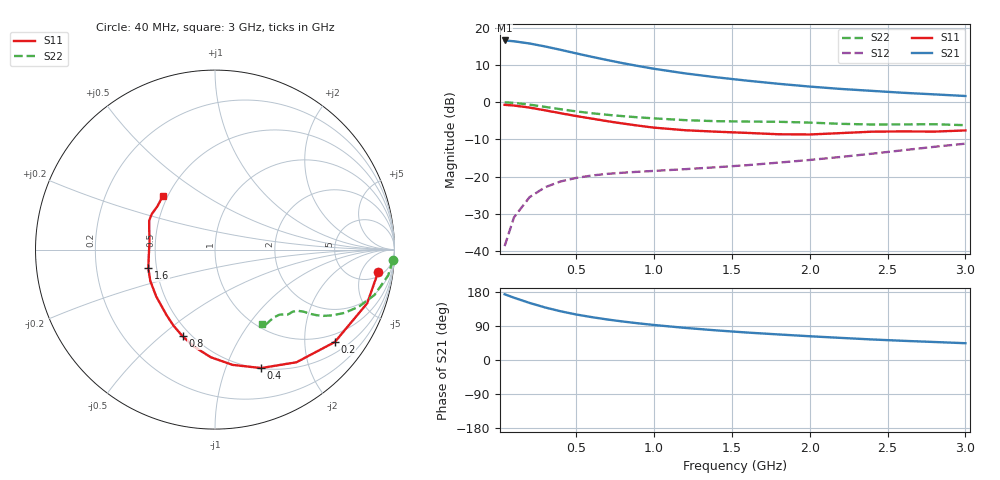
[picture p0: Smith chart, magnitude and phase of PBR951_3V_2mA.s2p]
! Filename:  PBR951C.S2P  Version:  3.0
! Philips part #:  PBR951  Date: July 1998
! Bias condition:  Vce=3V, Ic=2.0mA
#  MHz  S  MA  R 50
! Freq  S11  S21  S12  S22
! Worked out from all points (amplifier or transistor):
!   21 points, 40 MHz to 3 GHz, reference 50 ohm
!   highest |S21| = 16.5 dB at 40 MHz (marker M1)
!   |S21| within 3 dB of that: start of sweep to 451 MHz
!   unconditionally stable (mu >= 1): 1.505 GHz to 2.643 GHz
!   at 300 MHz: K = 0.25, MSG = 18.9 dB, |S12| = -22.8 dB
!   at 1 GHz: K = 0.77, MSG = 13.7 dB, |S12| = -18.5 dB
!   at 3 GHz: K = 0.96, MSG = 6.4 dB, |S12| = -11.2 dB
!   S11 on the Smith chart (normalised r, x): 40 MHz: 7, -10; 200 MHz: 0.77, -2.74; 400 MHz: 0.50, -1.34; 800 MHz: 0.45, -0.59; 1.6 GHz: 0.45, -0.11; 3 GHz: 0.47, +0.34
40  0.9173 -7.9  6.705 173.5  0.01167 85.3  0.9924 -3.5
100  0.8991 -19.4  6.536 164.4  0.02839 78.8  0.9753 -8.5
200  0.843 -37.7  6.106 150.6  0.05295 69.7  0.9238 -15.9
300  0.7746 -54.1  5.571 138.6  0.07207 62.4  0.8619 -21.7
400  0.7082 -68.7  5.019 128.5  0.08616 56.9  0.8021 -26.1
500  0.6495 -81.4  4.498 120.1  0.09613 53.1  0.7499 -29.2
600  0.5999 -92.3  4.046 113.1  0.1034 50.7  0.7081 -31.4
700  0.554 -101.9  3.658 106.9  0.1089 49.4  0.6746 -32.8
800  0.5155 -110.5  3.321 101.5  0.1128 49.0  0.6472 -33.8
900  0.4824 -118.7  3.04 96.7  0.1163 49.1  0.6238 -34.4
1000  0.4538 -126.5  2.795 92.4  0.1193 49.6  0.6039 -35.0
1200  0.4187 -141.5  2.424 84.7  0.1259 51.7  0.5724 -36.5
1400  0.4006 -154.1  2.15 78.1  0.1336 54.7  0.5541 -38.6
1600  0.3856 -164.5  1.935 72.4  0.1426 58.5  0.5477 -40.5
1800  0.3699 -175.4  1.757 67.4  0.1541 62.4  0.5438 -41.7
2000  0.3675 172.8  1.614 62.7  0.1673 65.7  0.5304 -42.8
2200  0.3835 162.9  1.5 58.4  0.1836 68.5  0.5106 -45.2
2400  0.4007 156.3  1.413 54.2  0.2029 70.8  0.4998 -49.2
2600  0.4043 150.7  1.332 50.6  0.226 72.5  0.5018 -53.3
2800  0.4014 143.0  1.268 47.5  0.251 73.4  0.5044 -55.9
3000  0.4164 134.3  1.206 44.3  0.2768 73.9  0.4897 -57.6
